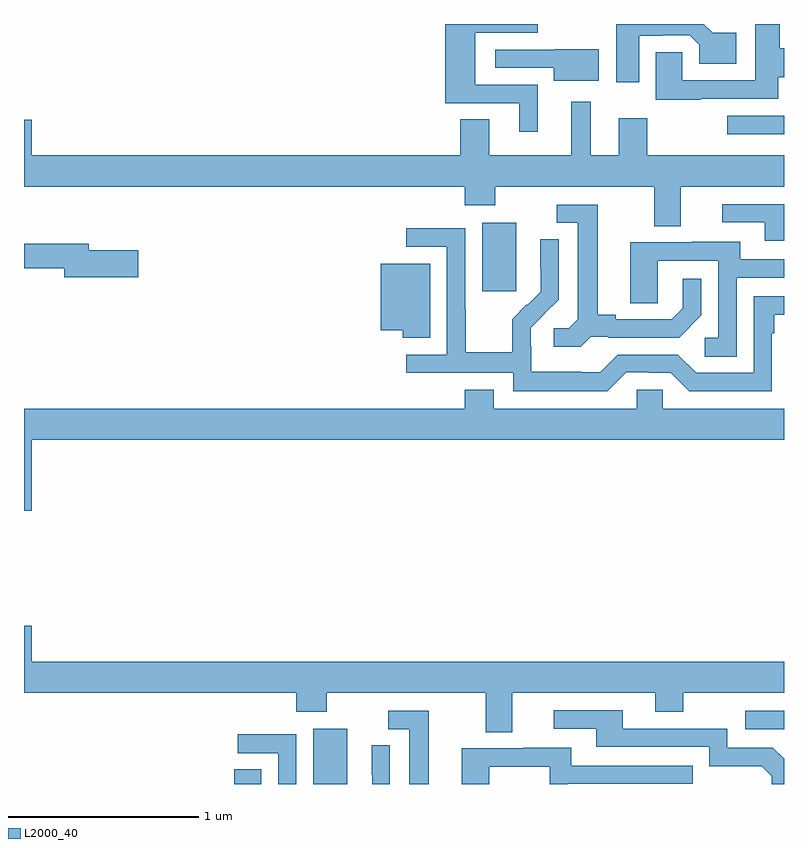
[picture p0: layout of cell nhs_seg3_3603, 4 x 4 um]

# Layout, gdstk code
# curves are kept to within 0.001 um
import gdstk
lib = gdstk.Library(unit=1e-6, precision=1e-09)
def R(c, l, rs):  # rectangles x0, y0, x1, y1
    for r in rs: c.add(gdstk.rectangle(r[:2], r[2:], *l))
def P(c, l, *ps):  # polygons
    for p in ps: c.add(gdstk.Polygon(p, *l))
L2000_40 = (2000, 40)

nhs_seg3_3603 = lib.new_cell('nhs_seg3_3603')
R(nhs_seg3_3603, L2000_40, [(298.106,736.4,298.249,736.478), (298.523,736.4,298.702,736.69), (300.795,736.689,301,736.785), (299.411,738.993,299.59,739.354), (300.702,739.821,301,739.917)])
P(nhs_seg3_3603, L2000_40, [(300.562,740.007),(300.97,740.007),(300.97,740.12),(301,740.12),(301,740.272),(300.978,740.272),(300.978,740.4),(300.848,740.4),(300.848,740.103),(300.465,740.103),(300.465,740.252),(300.326,740.252),(300.326,740.002),(300.562,740.002)],
  [(299.704,740.079),(299.374,740.079),(299.374,740.354),(299.704,740.354),(299.704,740.4),(299.216,740.4),(299.216,739.983),(299.606,739.983),(299.606,739.833),(299.704,739.833)],
  [(300.238,740.337),(300.362,740.337),(300.362,740.34),(300.504,740.34),(300.554,740.29),(300.554,740.192),(300.748,740.192),(300.748,740.353),(300.624,740.353),(300.577,740.4),(300.116,740.4),(300.116,740.094),(300.238,740.094)],
  [(300.025,740.266),(299.793,740.266),(299.793,740.265),(299.481,740.265),(299.481,740.169),(299.789,740.169),(299.789,740.102),(300.025,740.102)],
  [(299.297,739.708),(297.04,739.708),(297.04,739.897),(297,739.897),(297,739.544),(299.321,739.544),(299.321,739.445),(299.481,739.445),(299.481,739.544),(300.317,739.544),(300.317,739.336),(300.457,739.336),(300.457,739.544),(301,739.544),(301,739.708),(300.279,739.708),(300.279,739.903),(300.131,739.903),(300.131,739.708),(299.983,739.708),(299.983,739.99),(299.879,739.99),(299.879,739.708),(299.449,739.708),(299.449,739.898),(299.297,739.898)],
  [(301,739.452),(300.675,739.452),(300.675,739.356),(300.899,739.356),(300.899,739.26),(301,739.26)],
  [(299.982,738.753),(300.076,738.753),(300.076,738.75),(300.448,738.75),(300.564,738.866),(300.564,739.06),(300.467,739.06),(300.467,738.903),(300.41,738.846),(300.115,738.846),(300.115,738.869),(300.019,738.869),(300.019,739.449),(299.805,739.449),(299.805,739.353),(299.915,739.353),(299.915,738.845),(299.868,738.798),(299.787,738.798),(299.787,738.701),(299.93,738.701)],
  [(300.171,738.567),(300.287,738.567),(300.287,738.564),(300.405,738.564),(300.501,738.468),(300.936,738.468),(300.936,738.773),(300.949,738.773),(300.949,738.87),(301,738.87),(301,738.966),(300.84,738.966),(300.84,738.564),(300.537,738.564),(300.441,738.66),(300.126,738.66),(300.033,738.567),(299.933,738.567),(299.933,738.571),(299.67,738.571),(299.67,738.705),(299.668,738.705),(299.668,738.802),(299.814,738.95),(299.814,739.268),(299.718,739.268),(299.718,739.114),(299.72,739.114),(299.72,738.992),(299.649,738.921),(299.646,738.924),(299.569,738.847),(299.569,738.673),(299.325,738.673),(299.325,738.896),(299.322,738.896),(299.322,739.326),(299.013,739.326),(299.013,739.227),(299.226,739.227),(299.226,738.66),(299.013,738.66),(299.013,738.564),(299.574,738.564),(299.574,738.467),(300.071,738.467)],
  [(300.75,739.065),(301,739.065),(301,739.161),(300.769,739.161),(300.769,739.255),(300.515,739.255),(300.515,739.251),(300.191,739.251),(300.191,738.931),(300.336,738.931),(300.336,739.155),(300.654,739.155),(300.654,738.75),(300.582,738.75),(300.582,738.649),(300.75,738.649)],
  [(297.601,739.209),(297.34,739.209),(297.34,739.243),(297,739.243),(297,739.114),(297.212,739.114),(297.212,739.067),(297.601,739.067)],
  [(299.137,739.138),(298.877,739.138),(298.877,738.788),(298.994,738.788),(298.994,738.749),(299.137,738.749)],
  [(297.04,738.212),(301,738.212),(301,738.376),(300.363,738.376),(300.363,738.474),(300.225,738.474),(300.225,738.376),(299.473,738.376),(299.473,738.475),(299.321,738.475),(299.321,738.376),(297,738.376),(297,737.838),(297.04,737.838)],
  [(299.569,736.88),(300.323,736.88),(300.323,736.781),(300.471,736.781),(300.471,736.88),(301,736.88),(301,737.044),(297.04,737.044),(297.04,737.233),(297,737.233),(297,736.88),(298.433,736.88),(298.433,736.781),(298.593,736.781),(298.593,736.88),(299.429,736.88),(299.429,736.672),(299.569,736.672)],
  [(301,736.532),(300.942,736.59),(300.702,736.59),(300.702,736.692),(300.151,736.692),(300.151,736.788),(299.787,736.788),(299.787,736.692),(300.011,736.692),(300.011,736.596),(300.606,736.596),(300.606,736.493),(300.883,736.493),(300.936,736.44),(300.936,736.4),(301,736.4)],
  [(299.131,736.785),(298.917,736.785),(298.917,736.689),(299.027,736.689),(299.027,736.4),(299.131,736.4)],
  [(298.434,736.662),(298.125,736.662),(298.125,736.563),(298.338,736.563),(298.338,736.4),(298.434,736.4)],
  [(298.926,736.604),(298.83,736.604),(298.83,736.45),(298.832,736.45),(298.832,736.4),(298.926,736.4)],
  [(299.448,736.491),(299.766,736.491),(299.766,736.4),(299.862,736.4),(299.862,736.401),(300.521,736.401),(300.521,736.497),(299.881,736.497),(299.881,736.591),(299.627,736.591),(299.627,736.587),(299.303,736.587),(299.303,736.4),(299.448,736.4)])

lib.write_gds('nhs_seg3_3603.gds')
